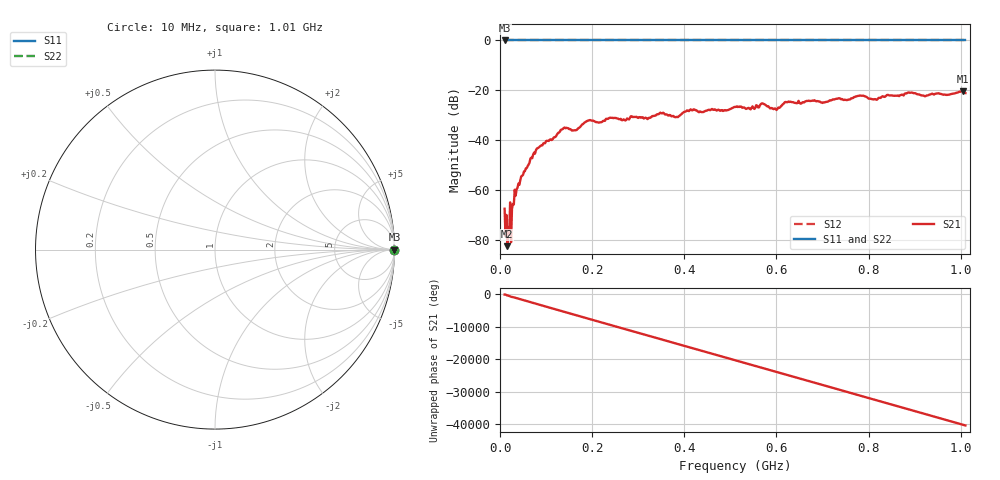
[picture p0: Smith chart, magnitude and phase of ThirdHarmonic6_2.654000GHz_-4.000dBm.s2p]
! 8/17/2025 6:04:25 AM
! C:\ANRITSUVNA\TEMP\TEMP.S2P
! CHANNEL.1
! TR.MEASUREMENT
! RAW.DATA
! RF.CORRECTION.OFF
! AVERAGING.OFF
! IF.BANDWIDTH: 5KHZ
! SWEEPTYPE:  FREQ.SWEEP(Linear)
! Reference Plane Port Info
! PORT:  PORT1  PORT2
! DISTANCE:  0  m  0  m
! TIME:  0  s  0  s
! PHASE.OFFSET:  0  deg.  0  deg.
! LOSS:  0  dB  0  dB
! REF.LOSS:  0  dB  0  dB
! REF.FREQ:  0  Hz  0  Hz
! Power Info
! POWER:  -20  dBm  -20  dBm
! EFF.POWER:  -20  dBm  -20  dBm
! SOURCE.ATTEN:  0  dB  0  dB
! TEST.ATTEN:  0  dB  0  dB
# GHZ S RI R 50.0
! FREQ.GHZ  S11RE  S11IM  S21RE  S21IM  S12RE  S12IM  S22RE  S22IM
!; PortSelection: Port_12
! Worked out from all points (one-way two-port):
!   501 points, 10 MHz to 1.01 GHz, reference 50 ohm
!   highest |S21| = -20.41 dB at 1.004 GHz (marker M1); lowest = -82.6 dB at 16 MHz (marker M2)
!   lowest |S11| = 0.0 dB at 10 MHz (marker M3)
!   |S11| at or under -10 dB: nowhere
!   |S22| runs from 0.0 to 0.0 dB; largest |S21 - S12| = 1.1
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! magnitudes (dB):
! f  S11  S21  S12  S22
! 10 MHz  0.0  -67.6  0.0  0.0
! 16 MHz  0.0  -82.6  0.0  0.0
! 18 MHz  0.0  -75.0  0.0  0.0
! 20 MHz  0.0  -77.8  0.0  0.0
! 30 MHz  0.0  -65.9  0.0  0.0
! 36 MHz  0.0  -59.8  0.0  0.0
! 76 MHz  0.0  -45.4  0.0  0.0
! 136 MHz  0.0  -35.6  0.0  0.0
! 162 MHz  0.0  -36.1  0.0  0.0
! 178 MHz  0.0  -33.8  0.0  0.0
! 194 MHz  0.0  -32.0  0.0  0.0
! 344 MHz  0.0  -29.7  0.0  0.0
! 382 MHz  0.0  -30.8  0.0  0.0
! 416 MHz  0.0  -28.1  0.0  0.0
! 510 MHz  0.0  -26.7  0.0  0.0
! 570 MHz  0.0  -25.3  0.0  0.0
! 598 MHz  0.0  -27.4  0.0  0.0
! 622 MHz  0.0  -24.8  0.0  0.0
! 678 MHz  0.0  -24.2  0.0  0.0
! 844 MHz  0.0  -22.0  0.0  0.0
! 1.004 GHz  0.0  -20.4  0.0  0.0
! 1.01 GHz  0.0  -21.1  0.0  0.0
